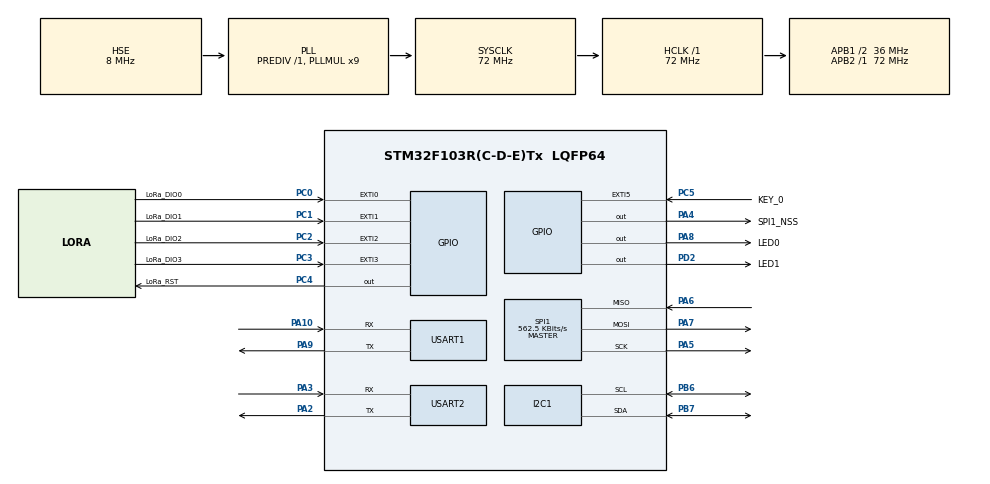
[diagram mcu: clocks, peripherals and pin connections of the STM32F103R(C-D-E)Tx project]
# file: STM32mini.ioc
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Dma.I2C1_RX.0.Direction=DMA_PERIPH_TO_MEMORY
Dma.I2C1_RX.0.Instance=DMA1_Channel7
Dma.I2C1_RX.0.MemDataAlignment=DMA_MDATAALIGN_BYTE
Dma.I2C1_RX.0.MemInc=DMA_MINC_ENABLE
Dma.I2C1_RX.0.Mode=DMA_NORMAL
Dma.I2C1_RX.0.PeriphDataAlignment=DMA_PDATAALIGN_BYTE
Dma.I2C1_RX.0.PeriphInc=DMA_PINC_DISABLE
Dma.I2C1_RX.0.Priority=DMA_PRIORITY_HIGH
Dma.I2C1_TX.1.Direction=DMA_MEMORY_TO_PERIPH
Dma.I2C1_TX.1.Instance=DMA1_Channel6
Dma.I2C1_TX.1.MemDataAlignment=DMA_MDATAALIGN_BYTE
Dma.I2C1_TX.1.MemInc=DMA_MINC_ENABLE
Dma.I2C1_TX.1.Mode=DMA_NORMAL
Dma.I2C1_TX.1.PeriphDataAlignment=DMA_PDATAALIGN_BYTE
Dma.I2C1_TX.1.PeriphInc=DMA_PINC_DISABLE
Dma.I2C1_TX.1.Priority=DMA_PRIORITY_HIGH
Dma.Request0=I2C1_RX
Dma.Request1=I2C1_TX
FREERTOS.INCLUDE_xEventGroupSetBitFromISR=1
FREERTOS.INCLUDE_xTimerPendFunctionCall=1
FREERTOS.Tasks01=LedTask,-3,128,StartLedTask,Default,NULL,Dynamic,NULL,NULL;MqttTask,-3,256,StartMqttTask,Default,NULL,Dynamic,NULL,NULL;DisplayTask,2,128,StartDisplayTask,Default,NULL,Dynamic,NULL,NULL;LoRaTask,-3,256,StartLoRaTask,Default,NULL,Dynamic,NULL,NULL
FREERTOS.Timers01=RxTimeoutTimer,RxTimeoutTimerCallback,osTimerOnce,Default,NULL,Dynamic,NULL;TxTimeoutTimer,TxTimeoutTimerCallback,osTimerOnce,Default,NULL,Dynamic,NULL;SyncWordTimeoutTimer,SyncWordTimeoutTimerCallback,osTimerOnce,Default,NULL,Dynamic,NULL
FREERTOS.configTIMER_TASK_PRIORITY=2
FREERTOS.configTIMER_TASK_STACK_DEPTH=256
FREERTOS.configTOTAL_HEAP_SIZE=8192
FREERTOS.configUSE_TIMERS=1
I2C1.I2C_Mode=I2C_Fast
I2C1.OwnAddress=0x78
Mcu.Family=STM32F1
Mcu.Name=STM32F103R(C-D-E)Tx
Mcu.Package=LQFP64
NVIC.DMA1_Channel6_IRQn=true\:5\:0\:false\:false\:true\:true\:false\:true
NVIC.DMA1_Channel7_IRQn=true\:5\:0\:false\:false\:true\:true\:false\:true
NVIC.EXTI0_IRQn=true\:5\:0\:true\:false\:true\:true\:true\:true
NVIC.EXTI1_IRQn=true\:5\:0\:false\:false\:true\:true\:true\:true
NVIC.EXTI2_IRQn=true\:5\:0\:false\:false\:true\:true\:true\:true
NVIC.EXTI3_IRQn=true\:5\:0\:false\:false\:true\:true\:true\:true
NVIC.EXTI9_5_IRQn=true\:8\:0\:true\:false\:true\:true\:true\:true
NVIC.I2C1_EV_IRQn=true\:5\:0\:false\:false\:true\:true\:true\:true
NVIC.PriorityGroup=NVIC_PRIORITYGROUP_4
NVIC.TIM3_IRQn=true\:5\:0\:true\:false\:true\:true\:true\:true
NVIC.TIM6_IRQn=true\:5\:0\:false\:false\:true\:true\:true\:true
NVIC.TIM7_IRQn=true\:5\:0\:true\:false\:true\:true\:true\:true
NVIC.USART1_IRQn=true\:7\:0\:true\:false\:true\:true\:true\:true
NVIC.USART2_IRQn=true\:5\:0\:true\:false\:true\:true\:true\:true
PA10.Mode=Asynchronous
PA10.Signal=USART1_RX
PA13.Mode=JTAG_5_pins
PA13.Signal=SYS_JTMS-SWDIO
PA14.Mode=JTAG_5_pins
PA14.Signal=SYS_JTCK-SWCLK
PA15.Mode=JTAG_5_pins
PA15.Signal=SYS_JTDI
PA2.Mode=Asynchronous
PA2.Signal=USART2_TX
PA3.Mode=Asynchronous
PA3.Signal=USART2_RX
PA4.GPIO_Label=SPI1_NSS
PA4.GPIO_Speed=GPIO_SPEED_FREQ_MEDIUM
PA4.Signal=GPIO_Output
PA5.Mode=Full_Duplex_Master
PA5.Signal=SPI1_SCK
PA6.Mode=Full_Duplex_Master
PA6.Signal=SPI1_MISO
PA7.Mode=Full_Duplex_Master
PA7.Signal=SPI1_MOSI
PA8.GPIO_Label=LED0
PA8.GPIO_Speed=GPIO_SPEED_FREQ_MEDIUM
PA8.Signal=GPIO_Output
PA9.Mode=Asynchronous
PA9.Signal=USART1_TX
PB3.Mode=JTAG_5_pins
PB3.Signal=SYS_JTDO-TRACESWO
PB4.Mode=JTAG_5_pins
PB4.Signal=SYS_NJTRST
PB6.Mode=I2C
PB6.Signal=I2C1_SCL
PB7.Mode=I2C
PB7.Signal=I2C1_SDA
PC0.GPIO_Label=LoRa_DIO0
PC0.Signal=GPXTI0
PC1.GPIO_Label=LoRa_DIO1
PC1.Signal=GPXTI1
PC2.GPIO_Label=LoRa_DIO2
PC2.GPIO_PuPd=GPIO_PULLDOWN
PC2.Signal=GPXTI2
PC3.GPIO_Label=LoRa_DIO3
PC3.GPIO_ModeDefaultEXTI=GPIO_MODE_IT_RISING
PC3.GPIO_PuPd=GPIO_PULLDOWN
PC3.Signal=GPXTI3
PC4.GPIO_Label=LoRa_RST
PC4.GPIO_Speed=GPIO_SPEED_FREQ_MEDIUM
PC4.Signal=GPIO_Output
PC5.GPIO_Label=KEY_0
PC5.GPIO_ModeDefaultEXTI=GPIO_MODE_IT_FALLING
PC5.GPIO_PuPd=GPIO_PULLUP
PC5.Signal=GPXTI5
PD0-OSC_IN.Mode=HSE-External-Oscillator
PD0-OSC_IN.Signal=RCC_OSC_IN
PD1-OSC_OUT.Mode=HSE-External-Oscillator
PD1-OSC_OUT.Signal=RCC_OSC_OUT
PD2.GPIO_Label=LED1
PD2.GPIO_Speed=GPIO_SPEED_FREQ_MEDIUM
PD2.Signal=GPIO_Output
ProjectManager.HeapSize=0x1000
ProjectManager.StackSize=0x400
ProjectManager.TargetToolchain=MDK-ARM V5
RCC.AHBFreq_Value=72000000
RCC.APB1CLKDivider=RCC_HCLK_DIV2
RCC.APB1Freq_Value=36000000
RCC.APB1TimFreq_Value=72000000
RCC.APB2Freq_Value=72000000
RCC.APB2TimFreq_Value=72000000
RCC.HCLKFreq_Value=72000000
RCC.PLLMUL=RCC_PLL_MUL9
RCC.PLLSourceVirtual=RCC_PLLSOURCE_HSE
RCC.SYSCLKFreq_VALUE=72000000
RCC.SYSCLKSource=RCC_SYSCLKSOURCE_PLLCLK
RCC.USBFreq_Value=72000000
SPI1.BaudRatePrescaler=SPI_BAUDRATEPRESCALER_128
SPI1.CLKPhase=SPI_PHASE_2EDGE
SPI1.CLKPolarity=SPI_POLARITY_HIGH
SPI1.CalculateBaudRate=562.5 KBits/s
SPI1.Direction=SPI_DIRECTION_2LINES
SPI1.Mode=SPI_MODE_MASTER
SPI1.VirtualType=VM_MASTER
TIM3.Period=4999
TIM3.Prescaler=7199
TIM6.Period=999
TIM6.Prescaler=3599
TIM7.Period=999
TIM7.Prescaler=8999
USART1.VirtualMode=VM_ASYNC
USART2.VirtualMode=VM_ASYNC
VP_FREERTOS_VS_CMSIS_V1.Mode=CMSIS_V1
VP_TIM3_VS_ClockSourceINT.Mode=Internal
VP_TIM6_VS_ClockSourceINT.Mode=Enable_Timer
VP_TIM7_VS_ClockSourceINT.Mode=Enable_Timer
board=custom

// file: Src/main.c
/* USER CODE BEGIN Header */
/**
  ******************************************************************************
  * @file           : main.c
  * @brief          : Main program body
  ******************************************************************************
  * @attention
  *
  * <h2><center>&copy; Copyright (c) 2021 STMicroelectronics.
  * All rights reserved.</center></h2>
  *
  * This software component is licensed by ST under BSD 3-Clause license,
  * the "License"; You may not use this file except in compliance with the
  * License. You may obtain a copy of the License at:
  *                        opensource.org/licenses/BSD-3-Clause
  *
  ******************************************************************************
  * @note
	*
	* STM32外设使用说明:
	* 	TIM3      : 定时20s发送心跳
	* 	TIM6      : 50ms 按键消抖
	* 	TIM7      : 定时125ms串口接收完成
	* 	SPI1      : 驱动SX1278
	* 	USART1    : printf调试
	* 	USART2    : 驱动ESP8266
	* 	USART3    :
	* 	IIC1      : 驱动0.96OLED
	*
	*
	* FreeRTOS软件定时器使用说明:
	* 	RxTimeoutTimer        : 接收超时定时器
	* 	TxTimeoutTimerH       : 发送超时定时器
	* 	SyncWordTimeoutTimer  : 同步字超时定时器
	*
	* 内存管理:
	* 	1. 若 FreeRTOS 已初始化完成，且在非中断处理时可以使用 Heap_4 提供的 pvPortMalloc() & vPortFree()
	*      详见 heap_4.c
	*   2. 若需要在 FreeRTOS 初始化之前，或在中断处理中动态申请空间，则可以使用自行实现的 mymalloc() & myfree()
	*      详见 malloc.c
	* @bug
	* 1. EVENTBIT_OLED_DOWNLOAD 事件标志不及时清除会导致 MqttRxPayload 莫名奇妙的被修改
	******************************************************************************
	*/
/* USER CODE END Header */

#include "main.h"
#include "cmsis_os.h"
#include "dma.h"
#include "i2c.h"
#include "spi.h"
#include "tim.h"
#include "usart.h"
#include "gpio.h"

/* USER CODE BEGIN Includes */
#include "sys.h"
#include "malloc.h"
#include "led.h"
#include "key.h"
#include "oled.h"
#include "common.h"     /* atk_8266_Init() */
#include "transport.h"  /* MQTT_Connect() */

/* USER CODE END Includes */

void SystemClock_Config(void);
void MX_FREERTOS_Init(void);

int main(void)
{

  /* MCU Configuration--------------------------------------------------------*/

  /* Reset of all peripherals, Initializes the Flash interface and the Systick. */
  HAL_Init();

  /* Configure the system clock */
  SystemClock_Config();

  /* Initialize all configured peripherals */
  MX_GPIO_Init();
  MX_DMA_Init();
  MX_USART1_UART_Init();
  MX_USART2_UART_Init();
  MX_I2C1_Init();
  MX_TIM3_Init();
  MX_TIM7_Init();
  MX_SPI1_Init();
  MX_TIM6_Init();
  /* USER CODE BEGIN 2 */

	mem_init(); 	/* 简易版MMU */

	// 不起作用
	//HAL_UART_Receive_IT(&huart1, (uint8_t *)aRxBuffer, RXBUFFERSIZE);//该函数会开启接收中断：标志位UART_IT_RXNE，并且设置接收缓冲以及接收缓冲接收最大数据量
	//HAL_UART_Receive_IT(&huart2, (uint8_t *)aRxBuffer2, RXBUFFERSIZE);//该函数会开启接收中断：标志位UART_IT_RXNE，并且设置接收缓冲以及接收缓冲接收最大数据量
	//__HAL_UART_ENABLE_IT(&huart2,UART_IT_RXNE);

	HAL_TIM_Base_Stop_IT(&htim3); //关闭定时器3和定时器3更新中断：TIM_IT_UPDATE
	HAL_TIM_Base_Start_IT(&htim7); //开启定时器7和定时器7更新中断：TIM_IT_UPDATE
	HAL_TIM_Base_Stop_IT(&htim6); //开启定时器6和定时器6更新中断：TIM_IT_UPDATE

	OLED_Init();
	Wifi.Init();

//	MQTT_PublishMsg(MQTT_SUB_TOPIC, MQTT_PUB_MSG, strlen((const char *)MQTT_PUB_MSG), 200);

  /* USER CODE END 2 */

  /* Call init function for freertos objects (in freertos.c) */
  MX_FREERTOS_Init();

  /* Start scheduler */
  osKernelStart();

  /* We should never get here as control is now taken by the scheduler */

  /* Infinite loop */
  while (1)
  {

  }
}

void SystemClock_Config(void)
{
  RCC_OscInitTypeDef RCC_OscInitStruct = {0};
  RCC_ClkInitTypeDef RCC_ClkInitStruct = {0};

  /** Initializes the CPU, AHB and APB busses clocks
  */
  RCC_OscInitStruct.OscillatorType = RCC_OSCILLATORTYPE_HSE;
  RCC_OscInitStruct.HSEState = RCC_HSE_ON;
  RCC_OscInitStruct.HSEPredivValue = RCC_HSE_PREDIV_DIV1;
  RCC_OscInitStruct.HSIState = RCC_HSI_ON;
  RCC_OscInitStruct.PLL.PLLState = RCC_PLL_ON;
  RCC_OscInitStruct.PLL.PLLSource = RCC_PLLSOURCE_HSE;
  RCC_OscInitStruct.PLL.PLLMUL = RCC_PLL_MUL9;
  if (HAL_RCC_OscConfig(&RCC_OscInitStruct) != HAL_OK)
  {
    Error_Handler();
  }
  /** Initializes the CPU, AHB and APB busses clocks
  */
  RCC_ClkInitStruct.ClockType = RCC_CLOCKTYPE_HCLK|RCC_CLOCKTYPE_SYSCLK
                              |RCC_CLOCKTYPE_PCLK1|RCC_CLOCKTYPE_PCLK2;
  RCC_ClkInitStruct.SYSCLKSource = RCC_SYSCLKSOURCE_PLLCLK;
  RCC_ClkInitStruct.AHBCLKDivider = RCC_SYSCLK_DIV1;
  RCC_ClkInitStruct.APB1CLKDivider = RCC_HCLK_DIV2;
  RCC_ClkInitStruct.APB2CLKDivider = RCC_HCLK_DIV1;

  if (HAL_RCC_ClockConfig(&RCC_ClkInitStruct, FLASH_LATENCY_2) != HAL_OK)
  {
    Error_Handler();
  }
}

void Error_Handler(void)
{
  /* USER CODE BEGIN Error_Handler_Debug */
  /* User can add his own implementation to report the HAL error return state */

	printf("error\r\n");
  /* USER CODE END Error_Handler_Debug */
}

/************************ (C) COPYRIGHT STMicroelectronics *****END OF FILE****/

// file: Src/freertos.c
/* USER CODE BEGIN Header */
/**
  ******************************************************************************
  * File Name          : freertos.c
  * Description        : Code for freertos applications
  ******************************************************************************
  * @attention
  *
  * <h2><center>&copy; Copyright (c) 2021 STMicroelectronics.
  * All rights reserved.</center></h2>
  *
  * This software component is licensed by ST under Ultimate Liberty license
  * SLA0044, the "License"; You may not use this file except in compliance with
  * the License. You may obtain a copy of the License at:
  *                             www.st.com/SLA0044
  *
  ******************************************************************************
  */
/* USER CODE END Header */

#include "FreeRTOS.h"
#include "task.h"
#include "main.h"
#include "cmsis_os.h"

/* USER CODE BEGIN Includes */
#include "led.h"
#include "oled.h"
//#include "oledfont.h"
#include "bmp.h"
#include "myjson.h"
#include "usart.h"
#include "tim.h"

#include "common.h"      /* WiFi-STA TCP */
#include "transport.h"   /* MQTT */
#include "MQTTPacket.h" /* struct defination MQTT_String
                           dont't include this file in transport.h
													 遵循一次修改编译最少源文件的原理 */

#include "sx1276-board.h"

/* USER CODE END Includes */

/* USER CODE BEGIN Variables */

EventGroupHandle_t EventGroupHandler; /* 事件标志组句柄 */

/* USER CODE END Variables */
osThreadId LedTaskHandle;
osThreadId MqttTaskHandle;
osThreadId DisplayTaskHandle;
osThreadId LoRaTaskHandle;
osTimerId RxTimeoutTimerHandle;
osTimerId TxTimeoutTimerHandle;
osTimerId SyncWordTimeoutTimerHandle;

/* USER CODE BEGIN FunctionPrototypes */

/* LoRa event callback */
void OnLoRaTxDone( void );
void OnLoRaRxDone( uint8_t *payload, uint16_t size, int16_t rssi, int8_t snr );
void OnLoRaTxTimeout( void );
void OnLoRaRxTimeout( void );
void OnLoRaRxError( void );
void OnLoRaCadDone( bool channelActivityDetected );

/* USER CODE END FunctionPrototypes */

void StartLedTask(void const * argument);
void StartMqttTask(void const * argument);
void StartDisplayTask(void const * argument);
void StartLoRaTask(void const * argument);
void RxTimeoutTimerCallback(void const * argument);
void TxTimeoutTimerCallback(void const * argument);
void SyncWordTimeoutTimerCallback(void const * argument);

void MX_FREERTOS_Init(void); /* (MISRA C 2004 rule 8.1) */

void MX_FREERTOS_Init(void) {

  /* USER CODE BEGIN RTOS_SEMAPHORES */
  /* add semaphores, ... */
	EventGroupHandler=xEventGroupCreate(); /* 创建事件标志组(24bit) */
  /* USER CODE END RTOS_SEMAPHORES */

  /* Create the timer(s) */
  /* definition and creation of RxTimeoutTimer */
  osTimerDef(RxTimeoutTimer, RxTimeoutTimerCallback);
  RxTimeoutTimerHandle = osTimerCreate(osTimer(RxTimeoutTimer), osTimerOnce, NULL);

  /* definition and creation of TxTimeoutTimer */
  osTimerDef(TxTimeoutTimer, TxTimeoutTimerCallback);
  TxTimeoutTimerHandle = osTimerCreate(osTimer(TxTimeoutTimer), osTimerOnce, NULL);

  /* definition and creation of SyncWordTimeoutTimer */
  osTimerDef(SyncWordTimeoutTimer, SyncWordTimeoutTimerCallback);
  SyncWordTimeoutTimerHandle = osTimerCreate(osTimer(SyncWordTimeoutTimer), osTimerOnce, NULL);

  /* Create the thread(s) */
  /* definition and creation of LedTask */
  osThreadDef(LedTask, StartLedTask, osPriorityIdle, 0, 128);
  LedTaskHandle = osThreadCreate(osThread(LedTask), NULL);

  /* definition and creation of MqttTask */
  osThreadDef(MqttTask, StartMqttTask, osPriorityIdle, 0, 256);
  MqttTaskHandle = osThreadCreate(osThread(MqttTask), NULL);

  /* definition and creation of DisplayTask */
  osThreadDef(DisplayTask, StartDisplayTask, osPriorityHigh, 0, 128);
  DisplayTaskHandle = osThreadCreate(osThread(DisplayTask), NULL);

  /* definition and creation of LoRaTask */
  osThreadDef(LoRaTask, StartLoRaTask, osPriorityIdle, 0, 256);
  LoRaTaskHandle = osThreadCreate(osThread(LoRaTask), NULL);

}

void StartLedTask(void const * argument)
{

  /* USER CODE BEGIN StartLedTask */
//	osTimerStart(RxTimeoutTimerHandle, 5000);
  /* Infinite loop */
  for(;;)
  {
		LED0=!LED0;
		//printf("led task running...\r\n");

    osDelay(500);
		//HAL_Delay(500);
  }
  /* USER CODE END StartLedTask */
}

void StartMqttTask(void const * argument)
{
  /* USER CODE BEGIN StartMqttTask */

 	u8 qc=0;
	u8* tpMsgBuf;
	u8  tcMsgBufLen;
//	u8 MemOccupancyRate=mallco_dev.perused();

	tpMsgBuf = pvPortMalloc(50);	/*  50 * size_t(32 b) = 200 Bytes */
	tcMsgBufLen = 200;
	memset(tpMsgBuf, 0, tcMsgBufLen);

	Wifi.SetTcpClient(WIFI_EXAP_SSID, WIFI_EXAP_PASSWD, \
	                  MQTT_IP, MQTT_PORT, WIFI_MODE_TRANS);

	                     /* Client ID ,  清理会话,    用户名,     密码,         保持连接时间 */
	MQTT_Connect(MQTT_CONN_CLINETID, 1, MQTT_CONN_USERNAME, MQTT_CONN_PASSWORD, MQTT_CONN_KEEPALIVE, 200);

	MQTT_SubSCribeTopic(MQTT_SUB_TOPIC, 0, 200); /* 订阅 "gateway/1/cmd" topic */

  /* Infinite loop */
  for(;;)
  {
		/* time to send PING msg (timer3) */
		if ((xEventGroupGetBits(EventGroupHandler) & EVENTBIT_MQTT_TXPING) == EVENTBIT_MQTT_TXPING) {
			xEventGroupClearBits(EventGroupHandler, EVENTBIT_MQTT_TXPING);
			tcMsgBufLen = MQTTSerialize_pingreq(tpMsgBuf, tcMsgBufLen);//心跳
			transport_sendPacketBuffer(0, tpMsgBuf, tcMsgBufLen);
		}
		/* receive new message */
		if ((xEventGroupGetBits(EventGroupHandler) & EVENTBIT_MQTT_RXMSG) == EVENTBIT_MQTT_RXMSG) {
			xEventGroupClearBits(EventGroupHandler, EVENTBIT_MQTT_RXMSG);	/* 清除接收标志位 */

			/* 一些消息数据包携带的参数 */
			u8 dup;
			int qos;
			u8 retained;
			u16 msgID;             /* 消息ID */
			int payloadLen = 0;    /* 数据负载长度(内部调用,最终会赋值给) */
			u8* payload;
			int rc;
			MQTTString receivedTopic;	/* 接收消息的主题 */

			cTxPingCount = 0;	/* reset the time to send PING msg */
			rc = MQTTDeserialize_publish(&dup, &qos, &retained, &msgID, &receivedTopic,
					                         &payload, &payloadLen, MQTT_RX_BUF, MQTT_MAX_RECV_LEN);

			/* 以下的字符串末尾都没加 '\0', 故要使用 %.*s 打印 */
			printf("\r\n!!!Mqtt Rx a msg, topic: %.*s\r\n", receivedTopic.lenstring.len, receivedTopic.lenstring.data);// 不知道为什么显式不了

			if(payloadLen > 0)	/* payloadlen_in > 0 代表有效的字符串 */
			{
				memset(MqttRxPayload, 0, MQTT_MAX_RECV_LEN);     /* clear the global MQTTRxPayload */
				MqttRxPayloadLen = payloadLen;                   /* set the global MQTTRxPayloadLen */
				memcpy(MqttRxPayload, payload, payloadLen);      /* set the global MQTTRxPayload */
				xEventGroupSetBits(EventGroupHandler, EVENTBIT_LORA_TXMSG);	/* do LoRa tx */
			}
			printf("可以开始接收新的消息了\r\n");

			USART2_RX_STA = 0;//串口2接收缓冲清空
			memset(USART2_RX_BUF,0,USART2_MAX_RECV_LEN);
			read_buf_len = 0;//这里必须加

		}

		/* Mqtt Tx */
		if ((xEventGroupGetBits(EventGroupHandler) & EVENTBIT_MQTT_TXMSG) == EVENTBIT_MQTT_TXMSG) {
			xEventGroupClearBits(EventGroupHandler, EVENTBIT_MQTT_TXMSG);

			if (MqttState != MQTT_NOCONN) {	/* MQTT 连接才能发送 */
				/* 发布消息 */
				MQTT_PublishMsg(MQTT_PUB_TOPIC, MqttTxPayload, MqttTxPayloadLen, 200);

				/* 这里其实是不合理的，理想情况应该是发送前将 EVENTBIT_OLED_UPLOAD 置位
					 发送完成后清除，但是目前 MQTT_PublishMsg() 当QoS=0 时无需等待 PUBACK
					 所以无法判断是否发送完成，暂且这样简单实现 */
				xEventGroupSetBits(EventGroupHandler, EVENTBIT_OLED_UPLOAD);
			} else {
				printf("Mqtt tx error: MQTT_NOCONN\r\n");
			}

		}
	  osDelay(500);

  }

  /* USER CODE END StartMqttTask */
}

void StartDisplayTask(void const * argument)
{
  /* USER CODE BEGIN StartDisplayTask */
	u8 k = 0;	                 /* temp variable */
	EventBits_t nowEvent = 0;	 /* 当前事件标志 */
	u8 gatewayID[10] = {0};	   /* OLED 显示的网关ID字段 */
	u8 runTime_Sec  = 0;       /* run time —— second bit */
	u8 runTime_Min  = 0;       /* run time —— minute bit */
	u8 runTime_Hour = 0;       /* run time —— hour bit */

	sprintf((u8 *)gatewayID, "GwID: %d", GATEWAY_ID);

	/* bar area */
	OLED_ShowString(0,0,gatewayID, strlen(gatewayID), FONT_SIZE_16, DISPLAY_NORMAL);
	OLED_DrawBMP(80,0,96,2,BMP_WIFI_NOCONN_16);
	OLED_DrawBMP(112,0,128,2,BMP_MQTT_NOCONN_16);

	OLED_Draw_Line(0,20,127,20); /* split line */

	/* run-time area */
	OLED_ShowString(0,4,"RunTime:", 8, FONT_SIZE_16, DISPLAY_NORMAL);
	OLED_ShowChar(80, 4, ':', FONT_SIZE_16, DISPLAY_REVERSE);
	OLED_ShowChar(96, 4, ':', FONT_SIZE_16, DISPLAY_REVERSE);

	/* state area */
	OLED_ShowString(0,6,"State:", 6, FONT_SIZE_16, DISPLAY_NORMAL);
//	OLED_DrawBMP(64,6,80,8,BMP_UPLOAD_16);
//	OLED_DrawBMP(96,6,112,8,BMP_DOWNLOAD_16);

  /* Infinite loop */

  for(;;)
  {
	  LED1 = ! LED1;

		if (k++ == 2) {	/* about 1 second */
			k = 0;
			if (runTime_Sec++ == 60) { /* second bit overflow */
				runTime_Sec = 0;
				if (runTime_Min++ == 60) {	/* minute bit overflow */
					runTime_Min = 0;
					if (runTime_Hour++ == 100) {	/* hour bit overflow */
						runTime_Hour = 0;
					}
				}
			}
		}

		/* run-time area update */
		OLED_ShowNum(64,4,runTime_Hour,2,FONT_SIZE_16,DISPLAY_REVERSE, DISPLAY_FILL_ZERO);
		OLED_ShowNum(88,4,runTime_Min,2,FONT_SIZE_16,DISPLAY_REVERSE, DISPLAY_FILL_ZERO);
		OLED_ShowNum(112,4,runTime_Sec,2,FONT_SIZE_16,DISPLAY_REVERSE, DISPLAY_FILL_ZERO);

		//nowEvent = xEventGroupGetBits(EventGroupHandler);

		/* WiFi连接成功 */
		if ((xEventGroupGetBits(EventGroupHandler) & EVENTBIT_WIFI_CONNECTED) == EVENTBIT_WIFI_CONNECTED) {
//			xEventGroupClearBits(EventGroupHandler, EVENTBIT_WIFI_CONNECTED);
			OLED_DrawBMP(80,0,96,2,BMP_WIFI_16);
		}
		/* Mqtt连接成功 */
		if ((xEventGroupGetBits(EventGroupHandler) & EVENTBIT_MQTT_CONNECTED) == EVENTBIT_MQTT_CONNECTED) {
//			xEventGroupClearBits(EventGroupHandler, EVENTBIT_MQTT_CONNECTED);
			OLED_DrawBMP(112,0,128,2,BMP_MQTT_16);
		}

		/* Idle */
		if ((xEventGroupGetBits(EventGroupHandler) & (EVENTBIT_OLED_DOWNLOAD|EVENTBIT_OLED_UPLOAD)) == 0) {
			OLED_ShowString(64,6,"Ready!", 6, FONT_SIZE_16, DISPLAY_NORMAL);
		}
		else {
			OLED_ClearArea(64,6,112,8);
			/* LoRa Txing */
			if ((xEventGroupGetBits(EventGroupHandler) & EVENTBIT_OLED_DOWNLOAD) == EVENTBIT_OLED_DOWNLOAD) {
				xEventGroupClearBits(EventGroupHandler, EVENTBIT_OLED_DOWNLOAD);
				OLED_DrawBMP(96,6,112,8,BMP_DOWNLOAD_16);
			}
			/* Mqtt Txing */
			if ((xEventGroupGetBits(EventGroupHandler) & EVENTBIT_OLED_UPLOAD) == EVENTBIT_OLED_UPLOAD) {
				xEventGroupClearBits(EventGroupHandler, EVENTBIT_OLED_UPLOAD);
				printf("MQTT Txing... \r\n");
				OLED_DrawBMP(64,6,80,8,BMP_UPLOAD_16);
			}

		}

		osDelay(500);
  }
  /* USER CODE END StartDisplayTask */
}

void StartLoRaTask(void const * argument)
{
  /* USER CODE BEGIN StartLoRaTask */

	static RadioEvents_t RadioEvents; /*  Radio events function pointer */
	u8 cJsonRstCode = 0;
	u8 i, j;
	const TickType_t xTicksToWait = 20000 / portTICK_PERIOD_MS; /* 20000 ms */

	/* register LoRa event callback*/
	RadioEvents.TxDone    = OnLoRaTxDone;
  RadioEvents.RxDone    = OnLoRaRxDone;
  RadioEvents.TxTimeout = OnLoRaTxTimeout;
  RadioEvents.RxTimeout = OnLoRaRxTimeout;
  RadioEvents.RxError   = OnLoRaRxError;
	RadioEvents.CadDone   = OnLoRaCadDone;

	/* Radio 是 sx1276-board.c 中定义的全局变量 */
  Radio.Init( &RadioEvents );
	Radio.SetChannel( RF_FREQUENCY );

#if defined( USE_MODEM_LORA )

	/*
	 * LoRa模式
	 * 发射功率        : 20 dBm
	 * 频率偏差        : 0 (LoRa无)
	 * 带宽            : 0 (125 kHz)
	 * 扩频因子        : 7
	 * 纠错编码率      : 1 (4/5)
	 * 前导码长度      : 8
	 * 报头模式        : 可变报头(显式报头)
	 * CRC校验         : 关闭
	 * 跳频            : 关闭
	 * 跳频周期        : 0
	 *
	 * 发送超时时间    : 3000
	 */
  Radio.SetTxConfig( MODEM_LORA, TX_OUTPUT_POWER, 0, LORA_BANDWIDTH,
                                   LORA_SPREADING_FACTOR, LORA_CODINGRATE,
                                   LORA_PREAMBLE_LENGTH, LORA_FIX_LENGTH_PAYLOAD_OFF,
                                   LORA_CRC_OFF, LORA_FREQ_HOP_OFF, LORA_HOP_PERIOD, LORA_IQ_INVERSION_OFF, 3000 );
	/*
	 * LoRa模式
	 * 带宽            : 0 (125 kHz)
	 * 扩频因子        : 7
	 * 纠错编码率      : 1 (4/5)
	 * AFC 带宽        : 0(LoRa无)
	 * 前导码长度      : 8
	 * 单次接收超时时间: 5
	 * 报头模式        : 可变报头(显式报头)
	 * 负载长度        : 0 (使用可变报头)
	 * CRC校验         : 关闭
	 * 跳频            : 关闭
	 * 跳频周期        : 0
	 *
	 * 接收模式        : 持续接收
	 */
  Radio.SetRxConfig( MODEM_LORA, LORA_BANDWIDTH, LORA_SPREADING_FACTOR,
                                   LORA_CODINGRATE, 0, LORA_PREAMBLE_LENGTH,
                                   LORA_SYMBOL_TIMEOUT, LORA_FIX_LENGTH_PAYLOAD_OFF,
                                   LORA_PAYLOAD_LENGTH, LORA_CRC_OFF, LORA_FREQ_HOP_OFF, LORA_HOP_PERIOD, LORA_IQ_INVERSION_OFF, LORA_RX_CONTINUOUS );
#endif

	//xEventGroupWaitBits(EventGroupHandler, EVENTBIT_MQTT_CONNECTED, pdFALSE, pdFALSE, xTicksToWait);

	Radio.Rx( RX_TIMEOUT_VALUE );
  /* Infinite loop */
  for(;;)
  {
		//printf("RegModemStat = 0x%2x\r\n",SX1276Read( 0x18 ));	/* debug */

		/* LoRa需要发送消息 */
		if ((xEventGroupGetBits(EventGroupHandler) & EVENTBIT_LORA_TXMSG) == EVENTBIT_LORA_TXMSG) {
			xEventGroupClearBits(EventGroupHandler, EVENTBIT_LORA_TXMSG);

			/* 解析收到的json字符串 */
			cJsonRstCode = DecomposeJsonStr(MqttRxPayload, MqttRxPayloadLen, LoRaTxPayload, &LoRaTxPayloadLen);
			if (cJsonRstCode == JSON_OK) {

				/* 貌似是不及时清除标志位，也就是重复的SetBits，会导致MqttRxPayload数组被莫名修改
				   暂时不清除其中的原因 */
				xEventGroupSetBits(EventGroupHandler, EVENTBIT_OLED_DOWNLOAD); /* clear in OnLoRaTxDone() */
			  printf("sending message to LoRa node...\r\n");

			}

		}

		/* LoRa收到消息 */
		if ((xEventGroupGetBits(EventGroupHandler) & EVENTBIT_LORA_RXMSG) == EVENTBIT_LORA_RXMSG) {
			xEventGroupClearBits(EventGroupHandler, EVENTBIT_LORA_RXMSG);

			ComposeJsonStr(MqttTxPayload, &MqttTxPayloadLen, LoRaRxPayload, LoRaRxPayloadLen);

			/* for debug */
			printf("组合后的json数据: ");
			for (i = 0; i < MqttTxPayloadLen; i++) {
				printf("%c",MqttTxPayload[i]);
			}
			printf("\r\n");

			/* Mqtt 发送 */
			xEventGroupSetBits(EventGroupHandler, EVENTBIT_MQTT_TXMSG);

			Radio.Rx( RX_TIMEOUT_VALUE );
		}

    osDelay(500);
  }

  /* USER CODE END StartLoRaTask */
}

/* RxTimeoutTimerCallback function */
void RxTimeoutTimerCallback(void const * argument)
{
  /* USER CODE BEGIN RxTimeoutTimerCallback */

	/* 发生中断后需要调用 SX1276OnTimeoutIrq 函数 */
	SX1276OnTimeoutIrq();
	printf("\r\ntimer irq\r\n");

  /* USER CODE END RxTimeoutTimerCallback */
}

/* TxTimeoutTimerCallback function */
void TxTimeoutTimerCallback(void const * argument)
{
  /* USER CODE BEGIN TxTimeoutTimerCallback */

	/* 发生中断后需要调用 SX1276OnTimeoutIrq 函数 */
	SX1276OnTimeoutIrq();
	printf("\r\ntimer irq\r\n");

  /* USER CODE END TxTimeoutTimerCallback */
}

/* SyncWordTimeoutTimerCallback function */
void SyncWordTimeoutTimerCallback(void const * argument)
{
  /* USER CODE BEGIN SyncWordTimeoutTimerCallback */

	/* 发生中断后需要调用 SX1276OnTimeoutIrq 函数 */
	SX1276OnTimeoutIrq();
	printf("\r\ntimer irq\r\n");

  /* USER CODE END SyncWordTimeoutTimerCallback */
}

/* USER CODE BEGIN Application */
void OnLoRaRxDone( uint8_t *payload, uint16_t size, int16_t rssi, int8_t snr )
{
	Radio.Sleep( );
	int i;
	memset(LoRaRxPayload,0,LORA_BUFFER_SIZE);

	LoRaRxPayloadLen = size;
	memcpy( LoRaRxPayload, payload, size );

	printf("\r\n !!!LoRa Rx Done\r\n");
	printf("rssi:%d\r\n snr:%d\r\n size:%d\r\n", rssi, snr, size);

	for (i = 0; i < size; i++) {	/* for debug */
		if (i == 0) {
			printf("payload: ");
		}
		printf("0x%02x ",*(payload+i));
		if (i == size -1) {
			printf("\r\n\r\n");
		}
	}

	/* 遵循中断服务函数中不进行复杂处理的原则，设置事件标志位
     在 LoRaTxRxTask 任务中对数据进行解析	*/
	xEventGroupSetBitsFromISR(EventGroupHandler, EVENTBIT_LORA_RXMSG, pdFALSE);	/* FromISR? */

}
void OnLoRaTxDone( void )
{
	Radio.Sleep( );
	xEventGroupClearBitsFromISR(EventGroupHandler, EVENTBIT_OLED_DOWNLOAD);
	printf("TxDone\r\n");
}
void OnLoRaTxTimeout( void )
{
	Radio.Sleep( );
	printf("TxTIMEOUT\r\n");
}

void OnLoRaRxTimeout( void )
{
	Radio.Sleep( );
	printf("RxTIMEOUT retry recive\r\n");

	/* 这里选择接收超时后再次重启接收 */
	Radio.Rx( RX_TIMEOUT_VALUE );
}

void OnLoRaRxError( void )
{
	Radio.Sleep( );
	printf("RxError  retry recive\r\n");
//	Radio.Rx( RX_TIMEOUT_VALUE );
}
void OnLoRaCadDone( bool channelActivityDetected )
{
//	Radio.Sleep( );
	printf("CadDone\r\n");
}
/* USER CODE END Application */

/************************ (C) COPYRIGHT STMicroelectronics *****END OF FILE****/
